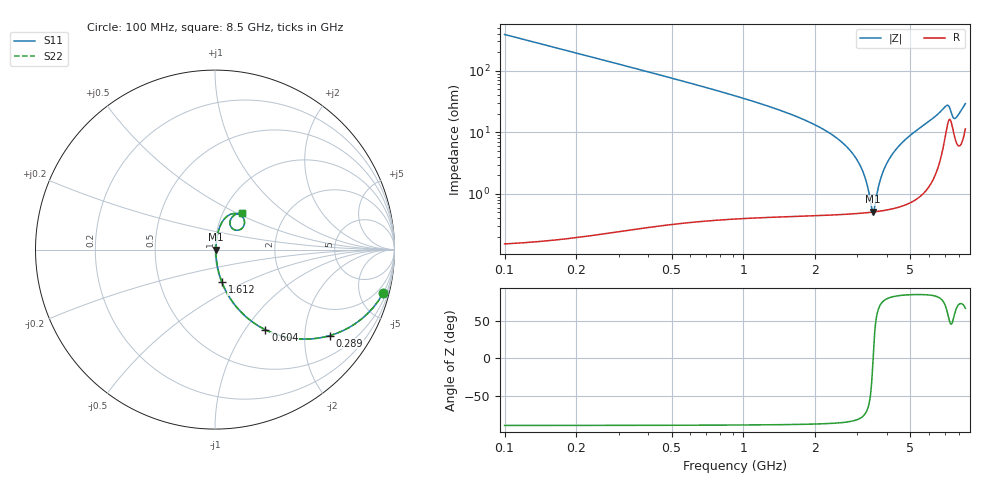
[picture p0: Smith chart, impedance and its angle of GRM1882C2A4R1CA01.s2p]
!Murata Part Number: GRM1882C2A4R1CA01
!These Parameters are Measured in Series Mode Connection
!Data Generated on Mar 30, 2021
!  o--ll--o
!Port1  Port2
!  o------o
!Operation Temp=25[degC], DC Bias Voltage=0[V]
!Freq. Start=100[MHz] Stop=9[GHz] 401[Steps]
# Hz S RI R 50
!Freq.(Hz) S11(Real) S11(Imag) S21(Real) S21(Imag) S12(Real) S12(Imag) S22(Real) S22(Imag)
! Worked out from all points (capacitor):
!   401 points, 100 MHz to 8.5 GHz, reference 50 ohm
!   read as one part in series: C = 4.1 pF near 142 MHz
!   lowest |Z| = 512 mohm at 3.481 GHz (marker M1)
!   series resonance near 3.491 GHz, so ESL is about 510 pH
!   S11 on the Smith chart (normalised r, x): 100 MHz: 1.00, -7.76; 289 MHz: 1.00, -2.67; 604 MHz: 1.01, -1.25; 1.612 GHz: 1.01, -0.38; 8.5 GHz: 1.23, +0.54
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1e8  0.9376 -0.2417  0.0624 0.2417  0.0624 0.2417  0.9376 -0.2417
2.05e8  0.7803 -0.4135  0.2197 0.4135  0.2197 0.4135  0.7803 -0.4135
2.89e8  0.6396 -0.4792  0.3604 0.4792  0.3604 0.4792  0.6396 -0.4792
4.36e8  0.4341 -0.4939  0.5659 0.4939  0.5659 0.4939  0.4341 -0.4939
6.04e8  0.2805 -0.4465  0.7195 0.4465  0.7195 0.4465  0.2805 -0.4465
9.61e8  0.1248 -0.3253  0.8752 0.3253  0.8752 0.3253  0.1248 -0.3253
1.507e9  0.046 -0.1996  0.954 0.1996  0.954 0.1996  0.046 -0.1996
1.612e9  0.0387 -0.182  0.9613 0.182  0.9613 0.182  0.0387 -0.182
2.431e9  0.0113 -0.082  0.9887 0.082  0.9887 0.082  0.0113 -0.082
2.914e9  0.00641 -0.0408  0.9936 0.0408  0.9936 0.0408  0.00641 -0.0408
3.208e9  0.00525 -0.0191  0.9947 0.0191  0.9947 0.0191  0.00525 -0.0191
3.481e9  0.00505 -0.00066  0.995 0.00066  0.995 0.00066  0.00505 -0.00066
3.523e9  0.00508 0.00207  0.9949 -0.00207  0.9949 -0.00207  0.00508 0.00207
3.691e9  0.00536 0.0127  0.9946 -0.0127  0.9946 -0.0127  0.00536 0.0127
3.838e9  0.00579 0.0217  0.9942 -0.0217  0.9942 -0.0217  0.00579 0.0217
4.3e9  0.0082 0.0487  0.9918 -0.0487  0.9918 -0.0487  0.0082 0.0487
4.867e9  0.0133 0.0801  0.9867 -0.0801  0.9867 -0.0801  0.0133 0.0801
5.707e9  0.0269 0.1269  0.9731 -0.1269  0.9731 -0.1269  0.0269 0.1269
6.589e9  0.0654 0.1841  0.9346 -0.1841  0.9346 -0.1841  0.0654 0.1841
7.114e9  0.1483 0.1872  0.8517 -0.1872  0.8517 -0.1872  0.1483 0.1872
7.639e9  0.0966 0.1177  0.9034 -0.1177  0.9034 -0.1177  0.0966 0.1177
8.5e9  0.1518 0.2051  0.8482 -0.2051  0.8482 -0.2051  0.1518 0.2051
